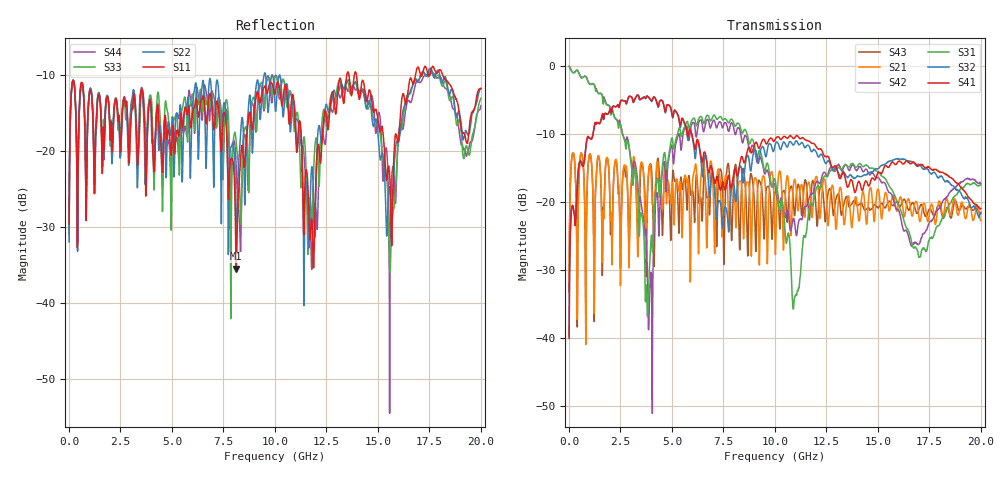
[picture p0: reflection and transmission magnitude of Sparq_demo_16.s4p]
# MHz MA S R 50.0
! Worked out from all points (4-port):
!   2000 points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, 10 MHz to 20 GHz, reference 50 ohm
!   strongest paths, dB at 10 MHz, 5.01 GHz, 10.01 GHz, 15.01 GHz, 20 GHz:
!     S41: -40.1, -7.2, -10.8, -15.7, -21.0
!     S32: -39.7, -7.3, -11.6, -15.1, -21.7
!     S31: -0.1, -10.7, -16.8, -15.6, -17.4
!     S42: -0.1, -12.0, -17.7, -16.4, -17.3
!     S21: -33.1, -17.6, -26.6, -18.2, -22.8
!     S43: -33.3, -17.8, -18.6, -20.9, -21.6
!   lowest |S11| = -35.5 dB at 8.12 GHz (marker M1), VSWR 1.03, Z = 51.4 - j0.896 ohm
!   |S11| at or under -10 dB: start of sweep to 13.49 GHz; 13.96 GHz to 16.83 GHz (2.869 GHz wide, 18.6 % of centre); 18.14 GHz to end of sweep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
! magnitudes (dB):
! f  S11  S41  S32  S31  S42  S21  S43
! 10 MHz  -29.6  -40.1  -39.7  -0.1  -0.1  -33.1  -33.3
! 3.96 GHz  -13.4  -5.0  -5.0  -27.0  -31.2  -14.8  -14.4
! 4.93 GHz  -19.8  -6.1  -6.1  -11.6  -12.1  -20.0  -24.7
! 8.12 GHz  -35.5  -15.7  -19.7  -8.7  -9.9  -23.3  -14.9
! 10.94 GHz  -14.1  -10.7  -11.5  -34.3  -22.7  -16.8  -21.8
! 15.61 GHz  -25.9  -14.5  -14.0  -18.0  -18.7  -20.6  -20.1
! 20 GHz  -11.8  -21.0  -21.7  -17.4  -17.3  -22.8  -21.6
